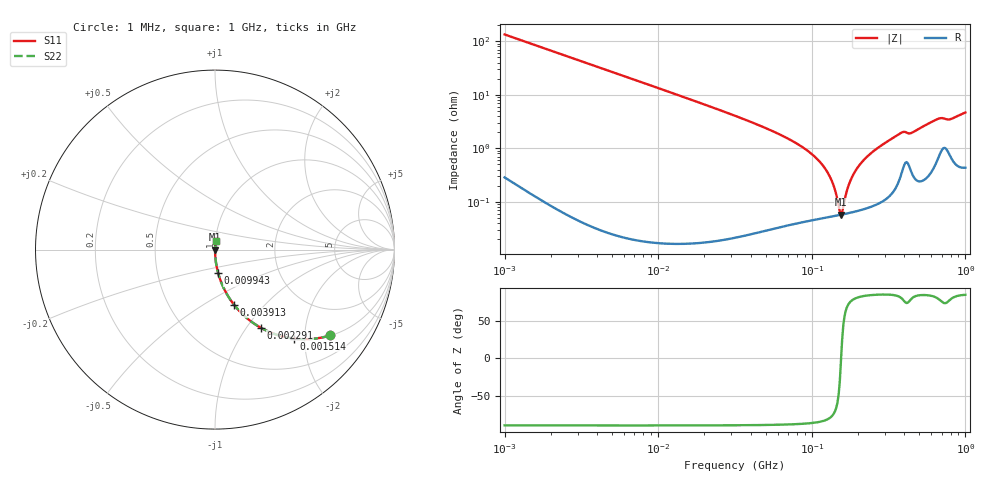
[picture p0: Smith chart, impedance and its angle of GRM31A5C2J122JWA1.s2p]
!Murata Part Number: GRM31A5C2J122JWA1
!These Parameters are Measured in Series Mode Connection
!Data Generated on Mar 30, 2021
!  o--ll--o
!Port1  Port2
!  o------o
!Operation Temp=25[degC], DC Bias Voltage=0[V]
!Freq. Start=1000[kHz] Stop=1000[MHz] 401[Steps]
# Hz S RI R 50
!Freq.(Hz) S11(Real) S11(Imag) S21(Real) S21(Imag) S12(Real) S12(Imag) S22(Real) S22(Imag)
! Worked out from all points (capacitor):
!   401 points, 1 MHz to 1 GHz, reference 50 ohm
!   read as one part in series: C = 1.19 nF near 1.035 MHz
!   lowest |Z| = 57.3 mohm at 154.9 MHz (marker M1)
!   series resonance near 155.2 MHz, so ESL is about 880 pH
!   S11 on the Smith chart (normalised r, x): 1 MHz: 1.01, -2.68; 1.514 MHz: 1.00, -1.77; 2.291 MHz: 1.00, -1.17; 3.913 MHz: 1.00, -0.68; 9.943 MHz: 1.00, -0.27; 1 GHz: 1.01, +0.09
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1000000  0.6415 -0.4785  0.3585 0.4785  0.3585 0.4785  0.6415 -0.4785
1513561  0.439 -0.4955  0.561 0.4955  0.561 0.4955  0.439 -0.4955
2290868  0.2548 -0.4352  0.7452 0.4352  0.7452 0.4352  0.2548 -0.4352
3180534  0.1507 -0.3573  0.8493 0.3573  0.8493 0.3573  0.1507 -0.3573
3912911  0.1049 -0.306  0.8951 0.306  0.8951 0.306  0.1049 -0.306
9942601  0.0178 -0.1317  0.9822 0.1317  0.9822 0.1317  0.0178 -0.1317
1.01158e7  0.0172 -0.1295  0.9828 0.1295  0.9828 0.1295  0.0172 -0.1295
3.162278e7  0.00185 -0.0404  0.9982 0.0404  0.9982 0.0404  0.00185 -0.0404
6.531306e7  0.000625 -0.0167  0.9994 0.0167  0.9994 0.0167  0.000625 -0.0167
1.005773e8  0.000508 -0.00765  0.9995 0.00765  0.9995 0.00765  0.000508 -0.00765
1.303167e8  0.000528 -0.003  0.9995 0.003  0.9995 0.003  0.000528 -0.003
1.396368e8  0.000542 -0.00181  0.9995 0.00181  0.9995 0.00181  0.000542 -0.00181
1.496236e8  0.000561 -0.000626  0.9994 0.000626  0.9994 0.000626  0.000561 -0.000626
1.548817e8  0.000571 -3.51e-05  0.9994 3.51e-05  0.9994 3.51e-05  0.000571 -3.51e-05
1.603245e8  0.000584 0.000557  0.9994 -0.000557  0.9994 -0.000557  0.000584 0.000557
1.778279e8  0.000628 0.00234  0.9994 -0.00234  0.9994 -0.00234  0.000628 0.00234
1.972423e8  0.000686 0.00416  0.9993 -0.00416  0.9993 -0.00416  0.000686 0.00416
2.385064e8  0.000847 0.00767  0.9992 -0.00767  0.9992 -0.00767  0.000847 0.00767
3.198895e8  0.00146 0.0141  0.9985 -0.0141  0.9985 -0.0141  0.00146 0.0141
6.606934e8  0.00737 0.0342  0.9926 -0.0342  0.9926 -0.0342  0.00737 0.0342
7.989139e8  0.00809 0.0338  0.9919 -0.0338  0.9919 -0.0338  0.00809 0.0338
1e9  0.00643 0.0459  0.9936 -0.0459  0.9936 -0.0459  0.00643 0.0459
